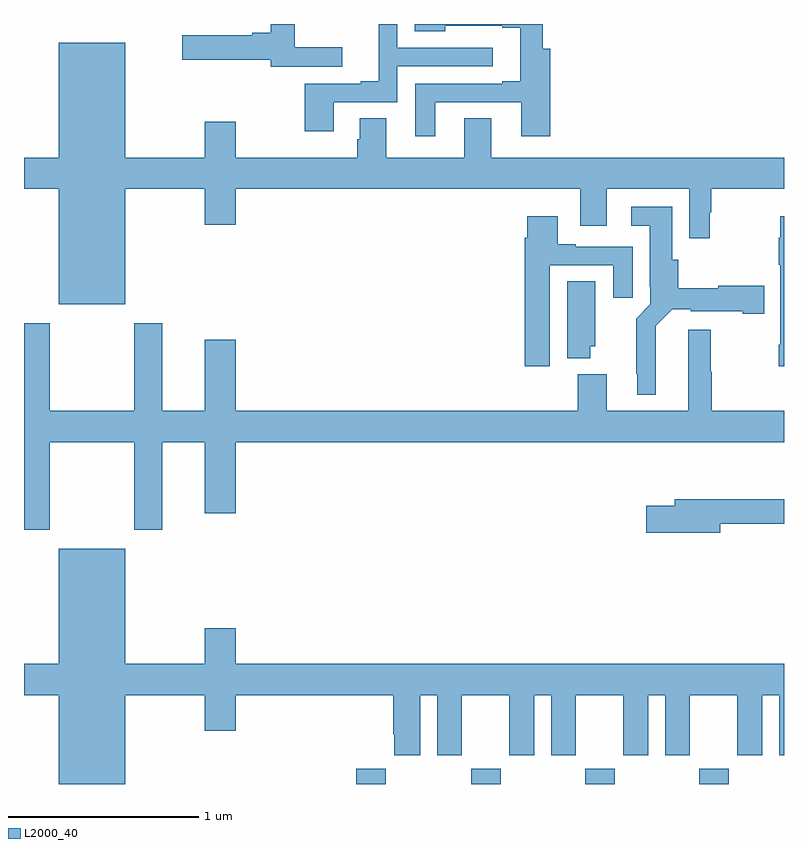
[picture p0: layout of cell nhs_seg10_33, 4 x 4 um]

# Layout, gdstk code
import gdstk
lib = gdstk.Library(unit=1e-6, precision=1e-09)
def R(c, l, rs):  # rectangles x0, y0, x1, y1
    for r in rs: c.add(gdstk.rectangle(r[:2], r[2:], *l))
def A(c, l, x, y, w, h, nx, ny, dx, dy):  # array of equal rectangles
    R(c, l, [(x+i*dx, y+j*dy, x+i*dx+w, y+j*dy+h) for i in range(nx) for j in range(ny)])
def P(c, l, *ps):  # polygons
    for p in ps: c.add(gdstk.Polygon(p, *l))
L2000_40 = (2000, 40)

nhs_seg10_33 = lib.new_cell('nhs_seg10_33')
A(nhs_seg10_33, L2000_40, 113.353, 1314.5, 0.155, 0.08, 3, 1, 0.6, 0)
R(nhs_seg10_33, L2000_40, [(112.748,1314.5,112.903,1314.58)])
P(nhs_seg10_33, L2000_40, [(113.164,1318.089),(113.618,1318.089),(113.618,1317.909),(113.771,1317.909),(113.771,1318.369),(113.731,1318.369),(113.731,1318.5),(113.057,1318.5),(113.057,1318.463),(113.217,1318.463),(113.217,1318.491),(113.516,1318.491),(113.516,1318.479),(113.612,1318.479),(113.612,1318.198),(113.516,1318.198),(113.516,1318.185),(113.06,1318.185),(113.06,1317.909),(113.164,1317.909)],
  [(112.675,1318.378),(112.426,1318.378),(112.426,1318.5),(112.298,1318.5),(112.298,1318.454),(112.202,1318.454),(112.202,1318.441),(111.834,1318.441),(111.834,1318.312),(112.298,1318.312),(112.298,1318.274),(112.675,1318.274)],
  [(112.63,1318.089),(112.965,1318.089),(112.965,1318.278),(113.467,1318.278),(113.467,1318.374),(112.965,1318.374),(112.965,1318.5),(112.868,1318.5),(112.868,1318.198),(112.772,1318.198),(112.772,1318.185),(112.478,1318.185),(112.478,1317.936),(112.63,1317.936)],
  [(111.532,1317.632),(111.95,1317.632),(111.95,1317.444),(112.114,1317.444),(112.114,1317.632),(113.927,1317.632),(113.927,1317.438),(114.067,1317.438),(114.067,1317.632),(114.501,1317.632),(114.501,1317.372),(114.61,1317.372),(114.61,1317.51),(114.617,1317.51),(114.617,1317.632),(115,1317.632),(115,1317.796),(113.458,1317.796),(113.458,1318.004),(113.318,1318.004),(113.318,1317.796),(112.906,1317.796),(112.906,1318.004),(112.766,1318.004),(112.766,1317.894),(112.754,1317.894),(112.754,1317.796),(112.114,1317.796),(112.114,1317.985),(111.95,1317.985),(111.95,1317.796),(111.532,1317.796),(111.532,1318.402),(111.182,1318.402),(111.182,1317.796),(111,1317.796),(111,1317.632),(111.182,1317.632),(111.182,1317.026),(111.532,1317.026)],
  [(114.325,1316.912),(114.411,1316.999),(114.51,1316.999),(114.51,1316.987),(114.782,1316.987),(114.782,1316.975),(114.895,1316.975),(114.895,1317.122),(114.654,1317.122),(114.654,1317.109),(114.443,1317.109),(114.443,1317.258),(114.412,1317.258),(114.412,1317.538),(114.195,1317.538),(114.195,1317.437),(114.293,1317.437),(114.293,1317.118),(114.297,1317.118),(114.297,1317.024),(114.223,1316.95),(114.223,1316.659),(114.227,1316.659),(114.227,1316.549),(114.325,1316.549)],
  [(115,1317.487),(114.98,1317.487),(114.98,1317.374),(114.973,1317.374),(114.973,1317.234),(114.98,1317.234),(114.98,1316.812),(114.973,1316.812),(114.973,1316.7),(115,1316.7)],
  [(113.767,1317.231),(114.101,1317.231),(114.101,1317.06),(114.205,1317.06),(114.205,1317.327),(113.905,1317.327),(113.905,1317.34),(113.809,1317.34),(113.809,1317.487),(113.648,1317.487),(113.648,1317.374),(113.636,1317.374),(113.636,1316.7),(113.767,1316.7)],
  [(113.98,1316.805),(114.007,1316.805),(114.007,1317.146),(113.858,1317.146),(113.858,1316.741),(113.98,1316.741)],
  [(111.135,1316.3),(111.58,1316.3),(111.58,1315.839),(111.727,1315.839),(111.727,1316.3),(111.95,1316.3),(111.95,1315.926),(112.114,1315.926),(112.114,1316.3),(115,1316.3),(115,1316.464),(114.62,1316.464),(114.62,1316.669),(114.615,1316.669),(114.615,1316.89),(114.497,1316.89),(114.497,1316.464),(114.067,1316.464),(114.067,1316.656),(113.915,1316.656),(113.915,1316.464),(112.114,1316.464),(112.114,1316.839),(111.95,1316.839),(111.95,1316.464),(111.727,1316.464),(111.727,1316.926),(111.58,1316.926),(111.58,1316.464),(111.135,1316.464),(111.135,1316.926),(111,1316.926),(111,1315.839),(111.135,1315.839)],
  [(114.664,1315.87),(115,1315.87),(115,1315.999),(114.425,1315.999),(114.425,1315.965),(114.276,1315.965),(114.276,1315.823),(114.664,1315.823)],
  [(111.532,1314.968),(111.95,1314.968),(111.95,1314.78),(112.114,1314.78),(112.114,1314.968),(112.943,1314.968),(112.943,1314.763),(112.949,1314.763),(112.949,1314.651),(113.086,1314.651),(113.086,1314.968),(113.174,1314.968),(113.174,1314.651),(113.305,1314.651),(113.305,1314.968),(113.555,1314.968),(113.555,1314.651),(113.686,1314.651),(113.686,1314.968),(113.774,1314.968),(113.774,1314.651),(113.905,1314.651),(113.905,1314.968),(114.155,1314.968),(114.155,1314.651),(114.286,1314.651),(114.286,1314.968),(114.374,1314.968),(114.374,1314.651),(114.505,1314.651),(114.505,1314.968),(114.755,1314.968),(114.755,1314.651),(114.886,1314.651),(114.886,1314.968),(114.974,1314.968),(114.974,1314.651),(115,1314.651),(115,1315.132),(112.114,1315.132),(112.114,1315.321),(111.95,1315.321),(111.95,1315.132),(111.532,1315.132),(111.532,1315.738),(111.182,1315.738),(111.182,1315.132),(111,1315.132),(111,1314.968),(111.182,1314.968),(111.182,1314.5),(111.532,1314.5)])

lib.write_gds('nhs_seg10_33.gds')
